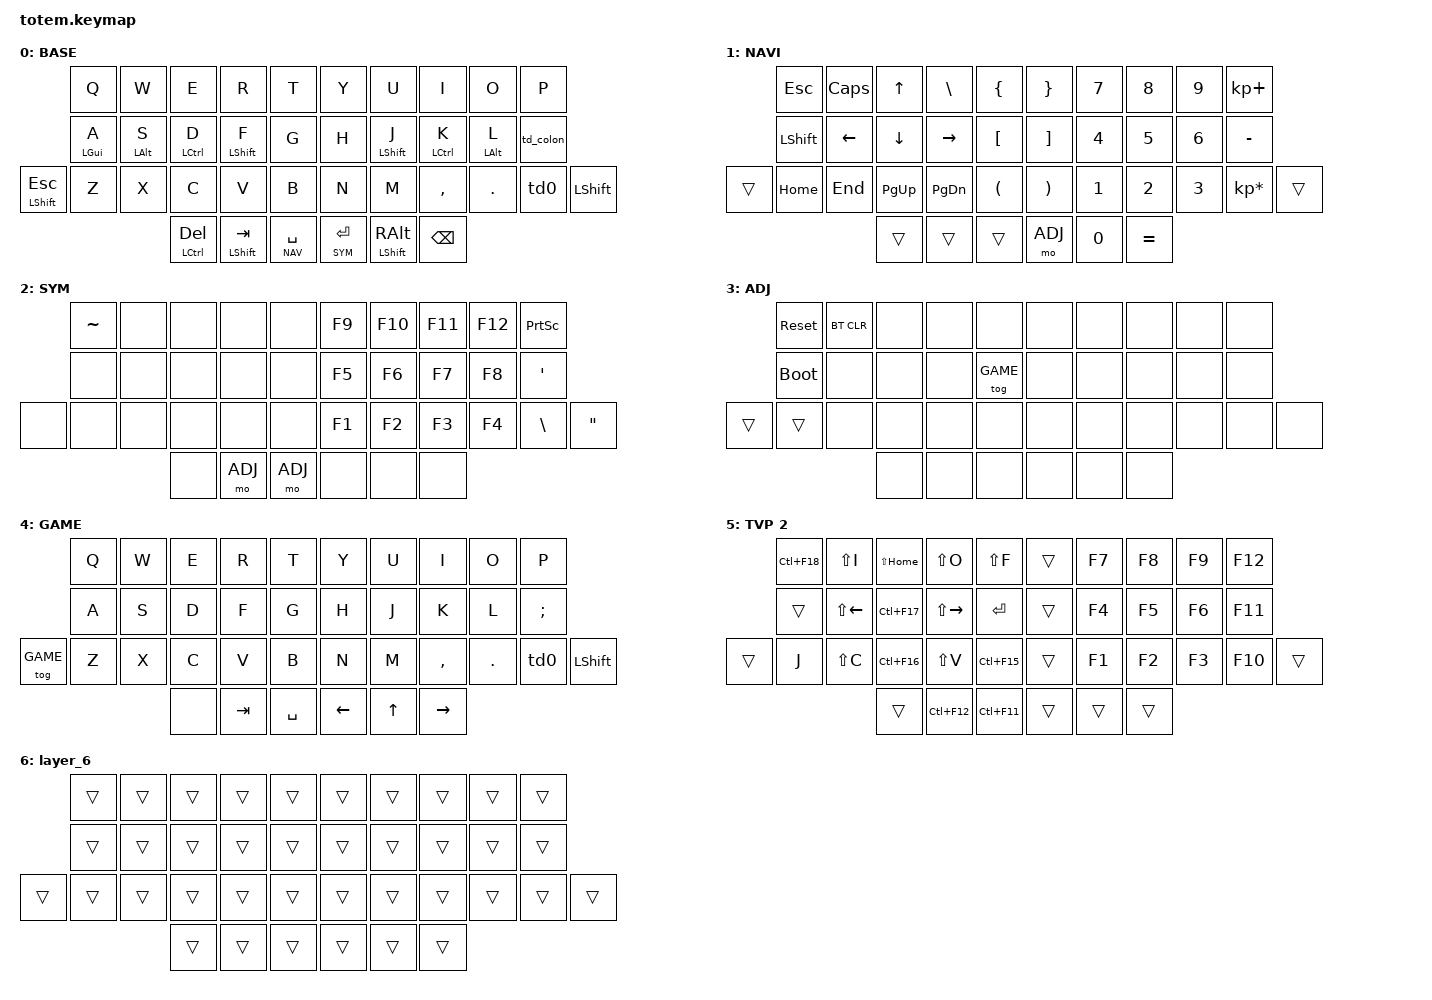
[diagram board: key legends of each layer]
//
//                                                        ▀▀▀▀▀     ▀▀▀▀▀          ▀▀█▀▀
//                                                        ▄▀▀▀▄  ▄  ▄▀▀▀▄  ▄  ▄▀▀▀▄  █  ▄▀▀▀▄
//                                                        █   █  █  █   █  █  █   █  █  █   █
//                                                         ▀▀▀   █   ▀▀▀   █   ▀▀▀   ▀   ▀▀▀
//                                                               █      ▄▄▄█▄▄▄    █   █  
//                                                               ▀      █  █  █     █▄█
//                                                             ▀▀▀▀▀    █  █  █      ▀
//                                                                      ▀  ▀  ▀
//
// ▄▄▄▄▄▄▄▄▄▄▄▄▄▄▄▄▄▄▄▄▄▄▄▄▄▄▄▄▄▄▄▄▄▄▄▄▄▄▄▄▄▄▄▄▄▄▄▄▄▄▄▄▄▄▄▄▄▄▄▄▄▄▄▄▄▄▄▄▄▄▄▄▄▄▄▄▄▄▄▄▄▄▄▄▄▄▄▄▄▄▄▄▄▄▄▄▄▄▄▄▄▄▄▄▄▄▄▄▄▄▄▄▄▄▄▄▄▄▄▄▄▄▄▄▄▄▄▄▄▄▄▄▄▄▄▄▄▄▄▄▄▄▄▄▄▄▄▄▄

#include <behaviors.dtsi>
#include <dt-bindings/zmk/bt.h>
#include <dt-bindings/zmk/keys.h>

#define BASE 0
#define NAV  1
#define SYM  2
#define ADJ  3
#define GAME 4
#define TVP2 5

#define COMBO(NAME, BINDINGS, KEYPOS) \
  combo_##NAME { \
    timeout-ms = <50>; \
    bindings = <BINDINGS>; \
    key-positions = <KEYPOS>; \
    layers = <0>; \
  };

&mt {
    tapping-term-ms = <240>;
    flavor = "balanced";
    quick-tap-ms = <150>;
};

&lt {
    tapping-term-ms = <240>;
    flavor = "balanced";
    quick-tap-ms = <150>;
};

/ {
    combos {
        compatible = "zmk,combos";

        COMBO(ctrl+c, &kp LC(C), 22 23)
                COMBO(ctrl+v, &kp LC(V), 23 24)
                COMBO(ctrl+x, &kp LC(X), 21 22)
                COMBO(win, &kp LGUI, 20 34)
                COMBO(dcq, &kp LS(Q), 00 10)
                COMBO(dcw, &kp LS(W), 01 11)
                COMBO(dce, &kp LS(E), 02 12)
                COMBO(dcr, &kp LS(R), 03 13)
                COMBO(dct, &kp LS(T), 04 14)
    };

    behaviors {
        hm: homerow_mods {
            compatible = "zmk,behavior-hold-tap";
            label = "HOMEROW_MODS";
            #binding-cells = <2>;
            flavor = "tap-preferred";
            tapping-term-ms = <170>;
            quick-tap-ms = <100>;
            global-quick-tap;
            bindings = <&kp>, <&kp>;
        };
    };

    behaviors {
        td0: tap_dance_0 {
            compatible = "zmk,behavior-tap-dance";
            #binding-cells = <0>;
            tapping-term-ms = <200>;
            bindings = <&kp FSLH>, <&kp QMARK>;
        };
    };

    behaviors {
        td1: tap_dance_1 {
            compatible = "zmk,behavior-tap-dance";
            #binding-cells = <0>;
            tapping-term-ms = <200>;
            bindings = <&kp LPAR>, <&kp LBKT>, <&kp LBRC>;
        };
    };

    behaviors {
        td2: tap_dance_2 {
            compatible = "zmk,behavior-tap-dance";
            #binding-cells = <0>;
            tapping-term-ms = <200>;
            bindings = <&kp RPAR>, <&kp RBKT>, <&kp RBRC>;
        };

        td_colon: td_colon_0 {
            compatible = "zmk,behavior-tap-dance";
            #binding-cells = <0>;
            bindings = <&kp SEMI>, <&kp COLON>;
        };
    };

    keymap {
        compatible = "zmk,keymap";

        // ▄▄▄▄▄▄▄▄▄▄▄▄▄▄▄▄▄▄▄▄▄▄▄▄▄▄▄▄▄▄▄▄▄▄▄▄▄▄▄▄▄▄▄▄▄▄▄▄▄▄▄▄▄▄▄▄▄▄▄▄▄▄▄▄▄▄▄▄▄▄▄▄▄▄▄▄▄▄▄▄▄▄▄▄▄▄▄▄▄▄▄▄▄▄▄▄▄▄▄▄▄▄▄▄▄▄▄▄▄▄▄▄▄▄▄▄▄▄▄▄▄▄▄▄▄▄▄▄▄▄▄▄▄▄▄▄▄▄▄▄▄▄▄▄▄▄▄▄▄

        base_layer {
            // ┏━━━━━━━━━━━━━━━━━━━━━━━━━━━━━━━━━━━━━━━┓

            label = "BASE";

            // ┗━━━━━━━━━━━━━━━━━━━━━━━━━━━━━━━━━━━━━━━┛
            //             ┏━━━━━━━━━━━┳━━━━━━━━━━━┳━━━━━━━━━━━┳━━━━━━━━━━━┳━━━━━━━━━━━┓   ┏━━━━━━━━━━━┳━━━━━━━━━━━┳━━━━━━━━━━━┳━━━━━━━━━━━┳━━━━━━━━━━━┓
            //             ┃     Q     ┃     W     ┃     E     ┃     R     ┃     T     ┃   ┃     Y     ┃     U     ┃     I     ┃     O     ┃     P     ┃
            //             ┣━━━━━━━━━━━╋━━━━━━━━━━━╋━━━━━━━━━━━╋━━━━━━━━━━━╋━━━━━━━━━━━┫   ┣━━━━━━━━━━━╋━━━━━━━━━━━╋━━━━━━━━━━━╋━━━━━━━━━━━╋━━━━━━━━━━━┫
            //             ┃     A     ┃     S     ┃     D     ┃     F     ┃     G     ┃   ┃     H     ┃     J     ┃     K     ┃     L     ┃     ;     ┃
            // ┏━━━━━━━━━━━╋━━━━━━━━━━━╋━━━━━━━━━━━╋━━━━━━━━━━━╋━━━━━━━━━━━╋━━━━━━━━━━━┫   ┣━━━━━━━━━━━╋━━━━━━━━━━━╋━━━━━━━━━━━╋━━━━━━━━━━━╋━━━━━━━━━━━╋━━━━━━━━━━━┓
            // ┃    ESC    ┃     Z     ┃     X     ┃     C     ┃     V     ┃     B     ┃   ┃     N     ┃     M     ┃     ,     ┃     .     ┃     /     ┃   SHIFT   ┃
            // ┗━━━━━━━━━━━┻━━━━━━━━━━━┻━━━━━━━━━━━╋━━━━━━━━━━━╋━━━━━━━━━━━╋━━━━━━━━━━━┫   ┣━━━━━━━━━━━╋━━━━━━━━━━━╋━━━━━━━━━━━╋━━━━━━━━━━━┻━━━━━━━━━━━┻━━━━━━━━━━━┛
            //                                     ┃    DEL    ┃    TAB    ┃    SPC    ┃   ┃   ENTER   ┃    RALT   ┃   BSPC    ┃
            //                                     ┗━━━━━━━━━━━┻━━━━━━━━━━━┻━━━━━━━━━━━┛   ┗━━━━━━━━━━━┻━━━━━━━━━━━┻━━━━━━━━━━━┛

            bindings = <
               &kp Q           &kp W       &kp E          &kp R          &kp T            &kp Y        &kp U           &kp I        &kp O       &kp P
               &hm LEFT_GUI A  &hm LALT S  &hm LCTRL D    &hm LSHFT F    &kp G            &kp H        &hm LSHFT J     &hm LCTRL K  &hm LALT L  &td_colon
&mt LSHFT ESC  &kp Z           &kp X       &kp C          &kp V          &kp B            &kp N        &kp M           &kp COMMA    &kp DOT     &td0       &kp LSHFT
                                           &mt LCTRL DEL  &mt LSHFT TAB  &lt NAV SPACE    &lt SYM RET  &mt LSHFT RALT  &kp BSPC
            >;
        };

        // ▄▄▄▄▄▄▄▄▄▄▄▄▄▄▄▄▄▄▄▄▄▄▄▄▄▄▄▄▄▄▄▄▄▄▄▄▄▄▄▄▄▄▄▄▄▄▄▄▄▄▄▄▄▄▄▄▄▄▄▄▄▄▄▄▄▄▄▄▄▄▄▄▄▄▄▄▄▄▄▄▄▄▄▄▄▄▄▄▄▄▄▄▄▄▄▄▄▄▄▄▄▄▄▄▄▄▄▄▄▄▄▄▄▄▄▄▄▄▄▄▄▄▄▄▄▄▄▄▄▄▄▄▄▄▄▄▄▄▄▄▄▄▄▄▄▄▄▄▄

        nav_layer {
            // ┏━━━━━━━━━━━━━━━━━━━━━━━━━━━━━━━━━━━━━━━┓

            label = "NAVI";

            // ┗━━━━━━━━━━━━━━━━━━━━━━━━━━━━━━━━━━━━━━━┛
            //             ┏━━━━━━━━━━━┳━━━━━━━━━━━┳━━━━━━━━━━━┳━━━━━━━━━━━┳━━━━━━━━━━━┓   ┏━━━━━━━━━━━┳━━━━━━━━━━━┳━━━━━━━━━━━┳━━━━━━━━━━━┳━━━━━━━━━━━┓
            //             ┃ caps lock ┃    NUM    ┃     UP    ┃   BSLH    ┃     {     ┃   ┃     }     ┃     7     ┃     8     ┃     9     ┃     +     ┃
            //             ┣━━━━━━━━━━━╋━━━━━━━━━━━╋━━━━━━━━━━━╋━━━━━━━━━━━╋━━━━━━━━━━━┫   ┣━━━━━━━━━━━╋━━━━━━━━━━━╋━━━━━━━━━━━╋━━━━━━━━━━━╋━━━━━━━━━━━┫
            //             ┃    snap   ┃   LEFT    ┃    DOWN   ┃   RIGHT   ┃     [     ┃   ┃     ]     ┃     4     ┃     5     ┃     6     ┃     -     ┃
            // ┏━━━━━━━━━━━╋━━━━━━━━━━━╋━━━━━━━━━━━╋━━━━━━━━━━━╋━━━━━━━━━━━╋━━━━━━━━━━━┫   ┣━━━━━━━━━━━╋━━━━━━━━━━━╋━━━━━━━━━━━╋━━━━━━━━━━━╋━━━━━━━━━━━╋━━━━━━━━━━━┓
            // ┃    ESC    ┃    HOME   ┃    END    ┃   PG UP   ┃  PG DOWN  ┃     (     ┃   ┃     )     ┃     1     ┃     2     ┃     3     ┃     *     ┃           ┃
            // ┗━━━━━━━━━━━┻━━━━━━━━━━━┻━━━━━━━━━━━╋━━━━━━━━━━━╋━━━━━━━━━━━╋━━━━━━━━━━━┫   ┣━━━━━━━━━━━╋━━━━━━━━━━━╋━━━━━━━━━━━╋━━━━━━━━━━━┻━━━━━━━━━━━┻━━━━━━━━━━━┛
            //                                     ┃    DEL    ┃    TAB    ┃    SPC    ┃   ┃    ADJ    ┃     0     ┃     =     ┃
            //                                     ┗━━━━━━━━━━━┻━━━━━━━━━━━┻━━━━━━━━━━━┛   ┗━━━━━━━━━━━┻━━━━━━━━━━━┻━━━━━━━━━━━┛

            bindings = <
        &kp ESC         &kp CAPSLOCK  &kp UP     &kp BSLH   &kp LBRC    &kp RBRC  &kp N7  &kp N8     &kp N9  &kp KP_PLUS
        &kp LEFT_SHIFT  &kp LEFT      &kp DOWN   &kp RIGHT  &kp LBKT    &kp RBKT  &kp N4  &kp N5     &kp N6  &kp MINUS
&trans  &kp HOME        &kp END       &kp PG_UP  &kp PG_DN  &kp LPAR    &kp RPAR  &kp N1  &kp N2     &kp N3  &kp KP_MULTIPLY  &trans
                                      &trans     &trans     &trans      &mo ADJ   &kp N0  &kp EQUAL
            >;
        };

        // ▄▄▄▄▄▄▄▄▄▄▄▄▄▄▄▄▄▄▄▄▄▄▄▄▄▄▄▄▄▄▄▄▄▄▄▄▄▄▄▄▄▄▄▄▄▄▄▄▄▄▄▄▄▄▄▄▄▄▄▄▄▄▄▄▄▄▄▄▄▄▄▄▄▄▄▄▄▄▄▄▄▄▄▄▄▄▄▄▄▄▄▄▄▄▄▄▄▄▄▄▄▄▄▄▄▄▄▄▄▄▄▄▄▄▄▄▄▄▄▄▄▄▄▄▄▄▄▄▄▄▄▄▄▄▄▄▄▄▄▄▄▄▄▄▄▄▄▄▄

        sim_layer {
            // ┏━━━━━━━━━━━━━━━━━━━━━━━━━━━━━━━━━━━━━━━┓

            label = "SYM";

            // ┗━━━━━━━━━━━━━━━━━━━━━━━━━━━━━━━━━━━━━━━┛
            //             ┏━━━━━━━━━━━┳━━━━━━━━━━━┳━━━━━━━━━━━┳━━━━━━━━━━━┳━━━━━━━━━━━┓   ┏━━━━━━━━━━━┳━━━━━━━━━━━┳━━━━━━━━━━━┳━━━━━━━━━━━┳━━━━━━━━━━━┓
            //             ┃     !     ┃     @     ┃     #     ┃     $     ┃     %     ┃   ┃     ˆ     ┃     &     ┃     *     ┃     '     ┃     "     ┃
            //             ┣━━━━━━━━━━━╋━━━━━━━━━━━╋━━━━━━━━━━━╋━━━━━━━━━━━╋━━━━━━━━━━━┫   ┣━━━━━━━━━━━╋━━━━━━━━━━━╋━━━━━━━━━━━╋━━━━━━━━━━━╋━━━━━━━━━━━┫
            //             ┃           ┃           ┃           ┃           ┃           ┃   ┃           ┃           ┃           ┃           ┃           ┃ 
            // ┏━━━━━━━━━━━╋━━━━━━━━━━━╋━━━━━━━━━━━╋━━━━━━━━━━━╋━━━━━━━━━━━╋━━━━━━━━━━━┫   ┣━━━━━━━━━━━╋━━━━━━━━━━━╋━━━━━━━━━━━╋━━━━━━━━━━━╋━━━━━━━━━━━╋━━━━━━━━━━━┓
            // ┃           ┃           ┃           ┃           ┃           ┃           ┃   ┃           ┃           ┃           ┃           ┃           ┃     \     ┃       
            // ┗━━━━━━━━━━━┻━━━━━━━━━━━┻━━━━━━━━━━━╋━━━━━━━━━━━╋━━━━━━━━━━━╋━━━━━━━━━━━┫   ┣━━━━━━━━━━━╋━━━━━━━━━━━╋━━━━━━━━━━━╋━━━━━━━━━━━┻━━━━━━━━━━━┻━━━━━━━━━━━┛
            //                                     ┃           ┃           ┃    ADJ    ┃   ┃           ┃           ┃           ┃
            //                                     ┗━━━━━━━━━━━┻━━━━━━━━━━━┻━━━━━━━━━━━┛   ┗━━━━━━━━━━━┻━━━━━━━━━━━┻━━━━━━━━━━━┛

            bindings = <
       &kp TILDE  &none  &none  &none    &none      &kp F9  &kp F10  &kp F11  &kp F12  &kp PSCRN
       &none      &none  &none  &none    &none      &kp F5  &kp F6   &kp F7   &kp F8   &kp APOSTROPHE
&none  &none      &none  &none  &none    &none      &kp F1  &kp F2   &kp F3   &kp F4   &kp BSLH        &kp DQT
                         &none  &mo ADJ  &mo ADJ    &none   &none    &none
            >;
        };

        // ▄▄▄▄▄▄▄▄▄▄▄▄▄▄▄▄▄▄▄▄▄▄▄▄▄▄▄▄▄▄▄▄▄▄▄▄▄▄▄▄▄▄▄▄▄▄▄▄▄▄▄▄▄▄▄▄▄▄▄▄▄▄▄▄▄▄▄▄▄▄▄▄▄▄▄▄▄▄▄▄▄▄▄▄▄▄▄▄▄▄▄▄▄▄▄▄▄▄▄▄▄▄▄▄▄▄▄▄▄▄▄▄▄▄▄▄▄▄▄▄▄▄▄▄▄▄▄▄▄▄▄▄▄▄▄▄▄▄▄▄▄▄▄▄▄▄▄▄▄

        adjust_layer {
            // ┏━━━━━━━━━━━━━━━━━━━━━━━━━━━━━━━━━━━━━━━┓

            label = "ADJ";

            // ┗━━━━━━━━━━━━━━━━━━━━━━━━━━━━━━━━━━━━━━━┛
            //             ┏━━━━━━━━━━━┳━━━━━━━━━━━┳━━━━━━━━━━━┳━━━━━━━━━━━┳━━━━━━━━━━━┓   ┏━━━━━━━━━━━┳━━━━━━━━━━━┳━━━━━━━━━━━┳━━━━━━━━━━━┳━━━━━━━━━━━┓
            //             ┃   RESET   ┃  BT CLEAR ┃  OUT TOG  ┃           ┃           ┃   ┃           ┃     F7    ┃    F8     ┃    F9     ┃    F12    ┃
            //             ┣━━━━━━━━━━━╋━━━━━━━━━━━╋━━━━━━━━━━━╋━━━━━━━━━━━╋━━━━━━━━━━━┫   ┣━━━━━━━━━━━╋━━━━━━━━━━━╋━━━━━━━━━━━╋━━━━━━━━━━━╋━━━━━━━━━━━┫
            //             ┃ BOOTLOAD  ┃  BT NEXT  ┃           ┃           ┃    GAME   ┃   ┃           ┃     F4    ┃    F5     ┃    F6     ┃    F11    ┃
            // ┏━━━━━━━━━━━╋━━━━━━━━━━━╋━━━━━━━━━━━╋━━━━━━━━━━━╋━━━━━━━━━━━╋━━━━━━━━━━━┫   ┣━━━━━━━━━━━╋━━━━━━━━━━ ╋━━━━━━━━━━━╋━━━━━━━━━━━╋━━━━━━━━━━━╋━━━━━━━━━━━┓
            // ┃           ┃           ┃  BT PREV  ┃           ┃           ┃           ┃   ┃           ┃     F1    ┃    F2     ┃    F3     ┃    F10    ┃    SNAP   ┃
            // ┗━━━━━━━━━━━┻━━━━━━━━━━━┻━━━━━━━━━━━╋━━━━━━━━━━━╋━━━━━━━━━━━╋━━━━━━━━━━━┫   ┣━━━━━━━━━━━╋━━━━━━━━━━━╋━━━━━━━━━━━╋━━━━━━━━━━━┻━━━━━━━━━━━┻━━━━━━━━━━━┛
            //                                     ┃           ┃           ┃           ┃   ┃           ┃           ┃           ┃
            //                                     ┗━━━━━━━━━━━┻━━━━━━━━━━━┻━━━━━━━━━━━┛   ┗━━━━━━━━━━━┻━━━━━━━━━━━┻━━━━━━━━━━━┛

            bindings = <
        &sys_reset   &bt BT_CLR  &none  &none  &none        &none  &none  &none  &none  &none
        &bootloader  &none       &none  &none  &tog GAME    &none  &none  &none  &none  &none
&trans  &trans       &none       &none  &none  &none        &none  &none  &none  &none  &none  &none
                                 &none  &none  &none        &none  &none  &none
            >;
        };

        // ▄▄▄▄▄▄▄▄▄▄▄▄▄▄▄▄▄▄▄▄▄▄▄▄▄▄▄▄▄▄▄▄▄▄▄▄▄▄▄▄▄▄▄▄▄▄▄▄▄▄▄▄▄▄▄▄▄▄▄▄▄▄▄▄▄▄▄▄▄▄▄▄▄▄▄▄▄▄▄▄▄▄▄▄▄▄▄▄▄▄▄▄▄▄▄▄▄▄▄▄▄▄▄▄▄▄▄▄▄▄▄▄▄▄▄▄▄▄▄▄▄▄▄▄▄▄▄▄▄▄▄▄▄▄▄▄▄▄▄▄▄▄▄▄▄▄▄▄▄

        game_layer {
            // ┏━━━━━━━━━━━━━━━━━━━━━━━━━━━━━━━━━━━━━━━┓

            label = "GAME";

            // ┗━━━━━━━━━━━━━━━━━━━━━━━━━━━━━━━━━━━━━━━┛
            //             ┏━━━━━━━━━━━┳━━━━━━━━━━━┳━━━━━━━━━━━┳━━━━━━━━━━━┳━━━━━━━━━━━┓   ┏━━━━━━━━━━━┳━━━━━━━━━━━┳━━━━━━━━━━━┳━━━━━━━━━━━┳━━━━━━━━━━━┓
            //             ┃    ESC    ┃           ┃     UP    ┃           ┃           ┃   ┃     Y     ┃     U     ┃     I     ┃     O     ┃     P     ┃
            //             ┣━━━━━━━━━━━╋━━━━━━━━━━━╋━━━━━━━━━━━╋━━━━━━━━━━━╋━━━━━━━━━━━┫   ┣━━━━━━━━━━━╋━━━━━━━━━━━╋━━━━━━━━━━━╋━━━━━━━━━━━╋━━━━━━━━━━━┫
            //             ┃           ┃   LEFT    ┃    DOWN   ┃   RIGHT   ┃           ┃   ┃     H     ┃     J     ┃     K     ┃     L     ┃     ;     ┃
            // ┏━━━━━━━━━━━╋━━━━━━━━━━━╋━━━━━━━━━━━╋━━━━━━━━━━━╋━━━━━━━━━━━╋━━━━━━━━━━━┫   ┣━━━━━━━━━━━╋━━━━━━━━━━━╋━━━━━━━━━━━╋━━━━━━━━━━━╋━━━━━━━━━━━╋━━━━━━━━━━━┓
            // ┃  OFF GAME ┃    ESC    ┃           ┃           ┃           ┃           ┃   ┃     N     ┃     M     ┃     ,     ┃     .     ┃     /     ┃   SHIFT   ┃
            // ┗━━━━━━━━━━━┻━━━━━━━━━━━┻━━━━━━━━━━━╋━━━━━━━━━━━╋━━━━━━━━━━━╋━━━━━━━━━━━┫   ┣━━━━━━━━━━━╋━━━━━━━━━━━╋━━━━━━━━━━━╋━━━━━━━━━━━┻━━━━━━━━━━━┻━━━━━━━━━━━┛
            //                                     ┃           ┃   ENTER   ┃     UP    ┃   ┃     UP    ┃     V     ┃     B     ┃
            //                                     ┗━━━━━━━━━━━┻━━━━━━━━━━━┻━━━━━━━━━━━┛   ┗━━━━━━━━━━━┻━━━━━━━━━━━┻━━━━━━━━━━━┛

            bindings = <
           &kp Q  &kp W  &kp E  &kp R    &kp T        &kp Y     &kp U   &kp I      &kp O    &kp P
           &kp A  &kp S  &kp D  &kp F    &kp G        &kp H     &kp J   &kp K      &kp L    &kp SEMI
&tog GAME  &kp Z  &kp X  &kp C  &kp V    &kp B        &kp N     &kp M   &kp COMMA  &kp DOT  &td0      &kp LSHFT
                         &none  &kp TAB  &kp SPACE    &kp LEFT  &kp UP  &kp RIGHT
            >;
        };

        // ▄▄▄▄▄▄▄▄▄▄▄▄▄▄▄▄▄▄▄▄▄▄▄▄▄▄▄▄▄▄▄▄▄▄▄▄▄▄▄▄▄▄▄▄▄▄▄▄▄▄▄▄▄▄▄▄▄▄▄▄▄▄▄▄▄▄▄▄▄▄▄▄▄▄▄▄▄▄▄▄▄▄▄▄▄▄▄▄▄▄▄▄▄▄▄▄▄▄▄▄▄▄▄▄▄▄▄▄▄▄▄▄▄▄▄▄▄▄▄▄▄▄▄▄▄▄▄▄▄▄▄▄▄▄▄▄▄▄▄▄▄▄▄▄▄▄▄▄▄

        tvp2_layer {
            // ┏━━━━━━━━━━━━━━━━━━━━━━━━━━━━━━━━━━━━━━━┓

            label = "TVP 2";

            // ┗━━━━━━━━━━━━━━━━━━━━━━━━━━━━━━━━━━━━━━━┛
            //             ┏━━━━━━━━━━━┳━━━━━━━━━━━┳━━━━━━━━━━━┳━━━━━━━━━━━┳━━━━━━━━━━━┓   ┏━━━━━━━━━━━┳━━━━━━━━━━━┳━━━━━━━━━━━┳━━━━━━━━━━━┳━━━━━━━━━━━┓
            //             ┃ SOLO      ┃ TOGGLE IN ┃ RESET ROT ┃ TOGGLE OUT┃ TAKE SNAP ┃   ┃           ┃           ┃           ┃           ┃           ┃
            //             ┣━━━━━━━━━━━╋━━━━━━━━━━━╋━━━━━━━━━━━╋━━━━━━━━━━━╋━━━━━━━━━━━┫   ┣━━━━━━━━━━━╋━━━━━━━━━━━╋━━━━━━━━━━━╋━━━━━━━━━━━╋━━━━━━━━━━━┫
            //             ┃ ---       ┃ LAST KEY  ┃ NEW KEY   ┃ NEXT KEY  ┃ ENTER     ┃   ┃           ┃           ┃           ┃           ┃           ┃
            // ┏━━━━━━━━━━━╋━━━━━━━━━━━╋━━━━━━━━━━━╋━━━━━━━━━━━╋━━━━━━━━━━━╋━━━━━━━━━━━┫   ┣━━━━━━━━━━━╋━━━━━━━━━━━╋━━━━━━━━━━━╋━━━━━━━━━━━╋━━━━━━━━━━━╋━━━━━━━━━━━┓
            // ┃           ┃ FULLSCR   ┃ CPY2BRUSH ┃ DEL HEAD  ┃ PSTinPLACE┃ BOOK MARK ┃   ┃           ┃           ┃           ┃           ┃           ┃           ┃
            // ┗━━━━━━━━━━━┻━━━━━━━━━━━┻━━━━━━━━━━━╋━━━━━━━━━━━╋━━━━━━━━━━━╋━━━━━━━━━━━┫   ┣━━━━━━━━━━━╋━━━━━━━━━━━╋━━━━━━━━━━━╋━━━━━━━━━━━┻━━━━━━━━━━━┻━━━━━━━━━━━┛
            //                                     ┃           ┃ REDO/SAV1 ┃TRANS/WARP ┃   ┃           ┃           ┃           ┃
            //                                     ┗━━━━━━━━━━━┻━━━━━━━━━━━┻━━━━━━━━━━━┛   ┗━━━━━━━━━━━┻━━━━━━━━━━━┻━━━━━━━━━━━┛

            bindings = <
        &kp LC(F18)  &kp LS(I)     &kp LS(HOME)  &kp LS(O)      &kp LS(F)      &trans  &kp F7  &kp F8  &kp F9  &kp F12
        &trans       &kp LS(LEFT)  &kp LC(F17)   &kp LS(RIGHT)  &kp RET        &trans  &kp F4  &kp F5  &kp F6  &kp F11
&trans  &kp J        &kp LS(C)     &kp LC(F16)   &kp LS(V)      &kp LC(F15)    &trans  &kp F1  &kp F2  &kp F3  &kp F10  &trans
                                   &trans        &kp LC(F12)    &kp LC(F11)    &trans  &trans  &trans
            >;
        };

        layer_6 {
            bindings = <
        &trans  &trans  &trans  &trans  &trans    &trans  &trans  &trans  &trans  &trans
        &trans  &trans  &trans  &trans  &trans    &trans  &trans  &trans  &trans  &trans
&trans  &trans  &trans  &trans  &trans  &trans    &trans  &trans  &trans  &trans  &trans  &trans
                        &trans  &trans  &trans    &trans  &trans  &trans
            >;
        };
    };
};
